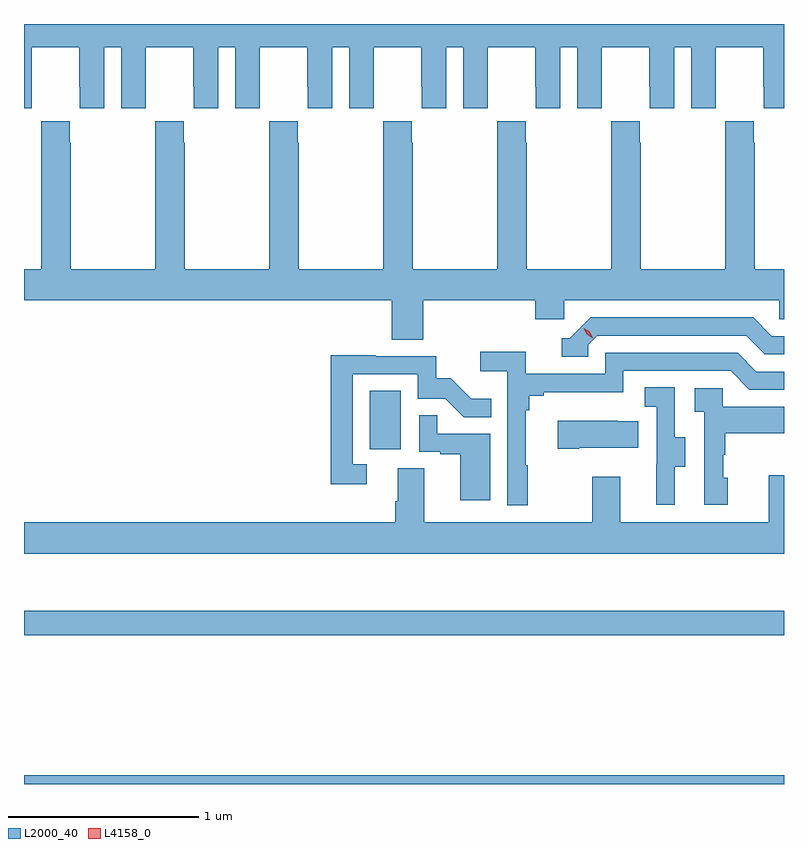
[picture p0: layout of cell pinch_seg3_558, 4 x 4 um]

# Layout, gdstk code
import gdstk
lib = gdstk.Library(unit=1e-6, precision=1e-09)
def R(c, l, rs):  # rectangles x0, y0, x1, y1
    for r in rs: c.add(gdstk.rectangle(r[:2], r[2:], *l))
def P(c, l, *ps):  # polygons
    for p in ps: c.add(gdstk.Polygon(p, *l))
L2000_40 = (2000, 40)
L4158_0 = (4158, 0)

pinch_seg3_558 = lib.new_cell('pinch_seg3_558')
R(pinch_seg3_558, L2000_40, [(1126.537,685.051,1130.537,685.096), (1126.537,685.834,1130.537,685.963), (1128.356,686.814,1128.52,687.121)])
P(pinch_seg3_558, L2000_40, [(1126.578,688.72),(1126.579,688.72),(1126.579,688.928),(1126.829,688.928),(1126.829,688.72),(1126.83,688.72),(1126.83,688.608),(1126.96,688.608),(1126.96,688.928),(1127.048,688.928),(1127.048,688.608),(1127.178,688.608),(1127.178,688.72),(1127.179,688.72),(1127.179,688.928),(1127.429,688.928),(1127.429,688.72),(1127.43,688.72),(1127.43,688.608),(1127.56,688.608),(1127.56,688.928),(1127.648,688.928),(1127.648,688.608),(1127.778,688.608),(1127.778,688.72),(1127.779,688.72),(1127.779,688.928),(1128.029,688.928),(1128.029,688.72),(1128.03,688.72),(1128.03,688.608),(1128.16,688.608),(1128.16,688.928),(1128.248,688.928),(1128.248,688.608),(1128.378,688.608),(1128.378,688.72),(1128.379,688.72),(1128.379,688.928),(1128.629,688.928),(1128.629,688.72),(1128.63,688.72),(1128.63,688.608),(1128.76,688.608),(1128.76,688.928),(1128.848,688.928),(1128.848,688.608),(1128.978,688.608),(1128.978,688.72),(1128.979,688.72),(1128.979,688.928),(1129.229,688.928),(1129.229,688.72),(1129.23,688.72),(1129.23,688.608),(1129.36,688.608),(1129.36,688.928),(1129.448,688.928),(1129.448,688.608),(1129.578,688.608),(1129.578,688.72),(1129.579,688.72),(1129.579,688.928),(1129.829,688.928),(1129.829,688.72),(1129.83,688.72),(1129.83,688.608),(1129.96,688.608),(1129.96,688.928),(1130.048,688.928),(1130.048,688.608),(1130.178,688.608),(1130.178,688.72),(1130.179,688.72),(1130.179,688.928),(1130.429,688.928),(1130.429,688.72),(1130.43,688.72),(1130.43,688.608),(1130.537,688.608),(1130.537,689.051),(1126.537,689.051),(1126.537,688.608),(1126.578,688.608)],
  [(1128.473,687.388),(1128.638,687.388),(1128.638,687.596),(1129.229,687.596),(1129.229,687.498),(1129.38,687.498),(1129.38,687.596),(1130.511,687.596),(1130.511,687.498),(1130.537,687.498),(1130.537,687.76),(1130.382,687.76),(1130.382,688.427),(1130.379,688.427),(1130.379,688.54),(1130.229,688.54),(1130.229,688.427),(1130.227,688.427),(1130.227,687.76),(1129.782,687.76),(1129.782,688.427),(1129.779,688.427),(1129.779,688.54),(1129.629,688.54),(1129.629,688.427),(1129.627,688.427),(1129.627,687.76),(1129.182,687.76),(1129.182,688.427),(1129.179,688.427),(1129.179,688.54),(1129.029,688.54),(1129.029,688.427),(1129.027,688.427),(1129.027,687.76),(1128.582,687.76),(1128.582,688.427),(1128.579,688.427),(1128.579,688.54),(1128.429,688.54),(1128.429,688.427),(1128.427,688.427),(1128.427,687.76),(1127.982,687.76),(1127.982,688.427),(1127.979,688.427),(1127.979,688.54),(1127.829,688.54),(1127.829,688.427),(1127.827,688.427),(1127.827,687.76),(1127.382,687.76),(1127.382,688.427),(1127.379,688.427),(1127.379,688.54),(1127.229,688.54),(1127.229,688.427),(1127.227,688.427),(1127.227,687.76),(1126.782,687.76),(1126.782,688.427),(1126.779,688.427),(1126.779,688.54),(1126.629,688.54),(1126.629,688.427),(1126.627,688.427),(1126.627,687.76),(1126.537,687.76),(1126.537,687.596),(1128.473,687.596)],
  [(1129.506,687.363),(1129.554,687.411),(1130.337,687.411),(1130.436,687.312),(1130.537,687.312),(1130.537,687.408),(1130.473,687.408),(1130.374,687.507),(1129.521,687.507),(1129.41,687.396),(1129.367,687.396),(1129.367,687.3),(1129.506,687.3)],
  [(1129.189,686.729),(1129.177,686.729),(1129.177,687.017),(1129.196,687.017),(1129.196,687.094),(1129.273,687.094),(1129.273,687.113),(1129.692,687.113),(1129.692,687.225),(1130.256,687.225),(1130.355,687.126),(1130.537,687.126),(1130.537,687.222),(1130.392,687.222),(1130.293,687.321),(1129.596,687.321),(1129.596,687.21),(1129.178,687.21),(1129.178,687.326),(1128.939,687.326),(1128.939,687.224),(1129.08,687.224),(1129.08,686.517),(1129.189,686.517)],
  [(1128.34,686.733),(1128.267,686.733),(1128.267,687.207),(1128.609,687.207),(1128.609,687.078),(1128.753,687.078),(1128.851,686.98),(1128.995,686.98),(1128.995,687.079),(1128.891,687.079),(1128.784,687.186),(1128.708,687.186),(1128.708,687.303),(1128.389,687.303),(1128.389,687.308),(1128.151,687.308),(1128.151,686.628),(1128.34,686.628)],
  [(1129.963,686.722),(1130.017,686.722),(1130.017,686.877),(1129.962,686.877),(1129.962,687.14),(1129.803,687.14),(1129.803,687.037),(1129.866,687.037),(1129.866,686.733),(1129.865,686.733),(1129.865,686.52),(1129.963,686.52)],
  [(1130.242,686.664),(1130.217,686.664),(1130.217,686.783),(1130.227,686.783),(1130.227,686.897),(1130.537,686.897),(1130.537,687.037),(1130.214,687.037),(1130.214,687.135),(1130.067,687.135),(1130.067,687.011),(1130.118,687.011),(1130.118,686.52),(1130.242,686.52)],
  [(1128.991,686.895),(1128.713,686.895),(1128.713,686.993),(1128.618,686.993),(1128.618,686.799),(1128.729,686.799),(1128.729,686.787),(1128.833,686.787),(1128.833,686.544),(1128.991,686.544)],
  [(1129.459,686.822),(1129.769,686.822),(1129.769,686.959),(1129.661,686.959),(1129.661,686.962),(1129.347,686.962),(1129.347,686.815),(1129.459,686.815)],
  [(1130.537,686.677),(1130.456,686.677),(1130.456,686.428),(1129.675,686.428),(1129.675,686.668),(1129.528,686.668),(1129.528,686.428),(1128.643,686.428),(1128.643,686.714),(1128.503,686.714),(1128.503,686.54),(1128.491,686.54),(1128.491,686.428),(1126.537,686.428),(1126.537,686.264),(1130.537,686.264)])
P(pinch_seg3_558, L4158_0, [(1129.53,687.396),(1129.499,687.417),(1129.484,687.45),(1129.484,687.45),(1129.484,687.45),(1129.514,687.43),(1129.53,687.397),(1129.53,687.396)])

lib.write_gds('pinch_seg3_558.gds')
